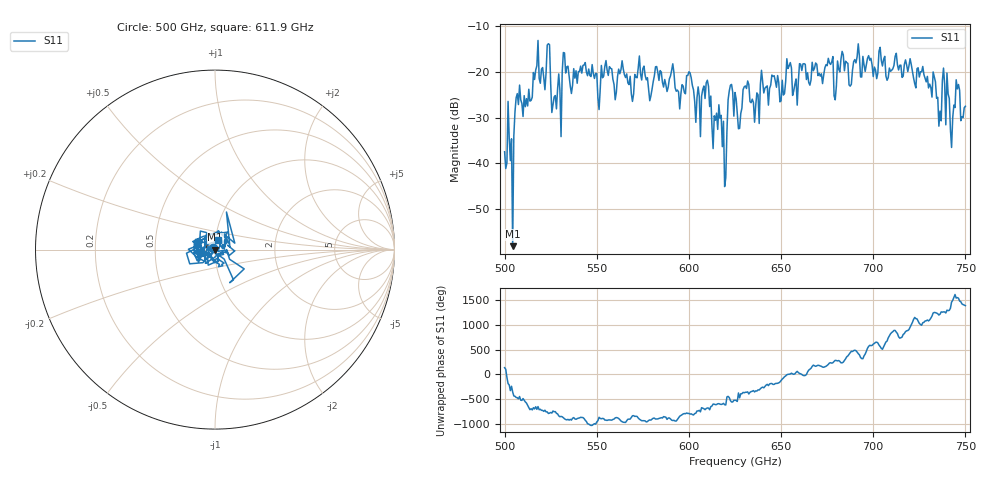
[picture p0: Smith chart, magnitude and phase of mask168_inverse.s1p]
!Created with skrf (http://scikit-rf.org).
# GHz S MA R 50.0
!freq magS11 angS11
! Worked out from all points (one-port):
!   401 points, 500 GHz to 750 GHz, reference 50 ohm
!   lowest |S11| = -58.0 dB at 504.4 GHz (marker M1), VSWR 1.00, Z = 50.1 + j0.0175 ohm
!   |S11| at or under -10 dB: start of sweep to end of sweep
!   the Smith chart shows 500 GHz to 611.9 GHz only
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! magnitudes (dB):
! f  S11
! 500 GHz  -37.5
! 504.4 GHz  -58.0
! 506.9 GHz  -24.8
! 513.8 GHz  -26.4
! 516.9 GHz  -19.6
! 523.8 GHz  -13.9
! 526.9 GHz  -25.5
! 531.2 GHz  -20.1
! 562.5 GHz  -20.4
! 579.4 GHz  -25.3
! 590.6 GHz  -19.7
! 593.8 GHz  -24.0
! 600 GHz  -20.0
! 605 GHz  -23.3
! 609.4 GHz  -22.4
! 619.4 GHz  -45.0
! 622.5 GHz  -23.0
! 625 GHz  -24.5
! 656.2 GHz  -25.2
! 687.5 GHz  -23.2
! 691.2 GHz  -16.8
! 718.8 GHz  -20.0
! 733.8 GHz  -22.2
! 735.6 GHz  -31.9
! 738.8 GHz  -22.7
! 743.1 GHz  -30.0
! 745.6 GHz  -23.8
! 750 GHz  -27.5
